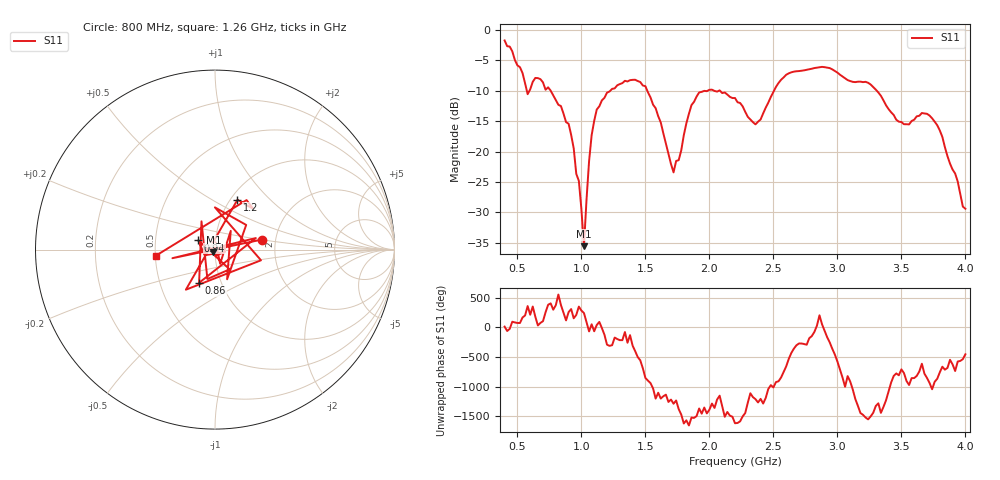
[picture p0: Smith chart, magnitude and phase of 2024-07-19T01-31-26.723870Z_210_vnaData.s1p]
!Created with skrf (http://scikit-rf.org).
# Hz S RI R 50.0
!freq ReS11 ImS11
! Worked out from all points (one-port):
!   181 points, 400 MHz to 4 GHz, reference 50 ohm
!   lowest |S11| = -35.5 dB at 1.02 GHz (marker M1), VSWR 1.03, Z = 49.1 - j1.42 ohm
!   |S11| at or under -10 dB: 759.8 MHz to 1.226 GHz (466.6 MHz wide, 47 % of centre); 1.514 GHz to 1.987 GHz (472.8 MHz wide, 27 % of centre); 3.307 GHz to end of sweep (the widest 3 of 6)
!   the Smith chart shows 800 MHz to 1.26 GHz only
!   S11 on the Smith chart (normalised r, x): 800 MHz: 1.69, +0.20; 860 MHz: 0.79, -0.30; 940 MHz: 0.83, +0.09; 1.2 GHz: 1.08, +0.66; 1.26 GHz: 0.50, -0.04
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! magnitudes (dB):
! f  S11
! 400 MHz  -1.8
! 580 MHz  -10.6
! 660 MHz  -7.9
! 800 MHz  -11.5
! 860 MHz  -13.8
! 940 MHz  -19.5
! 980 MHz  -24.8
! 1.02 GHz  -35.5
! 1.06 GHz  -21.6
! 1.08 GHz  -17.3
! 1.12 GHz  -13.1
! 1.2 GHz  -10.3
! 1.26 GHz  -9.6
! 1.3 GHz  -8.9
! 1.5 GHz  -9.3
! 1.72 GHz  -23.4
! 1.76 GHz  -21.4
! 1.86 GHz  -12.4
! 1.92 GHz  -10.3
! 2.2 GHz  -11.2
! 2.36 GHz  -15.5
! 2.66 GHz  -6.9
! 3.1 GHz  -8.4
! 3.26 GHz  -9.0
! 3.56 GHz  -15.5
! 3.66 GHz  -13.7
! 3.78 GHz  -15.7
! 4 GHz  -29.4
